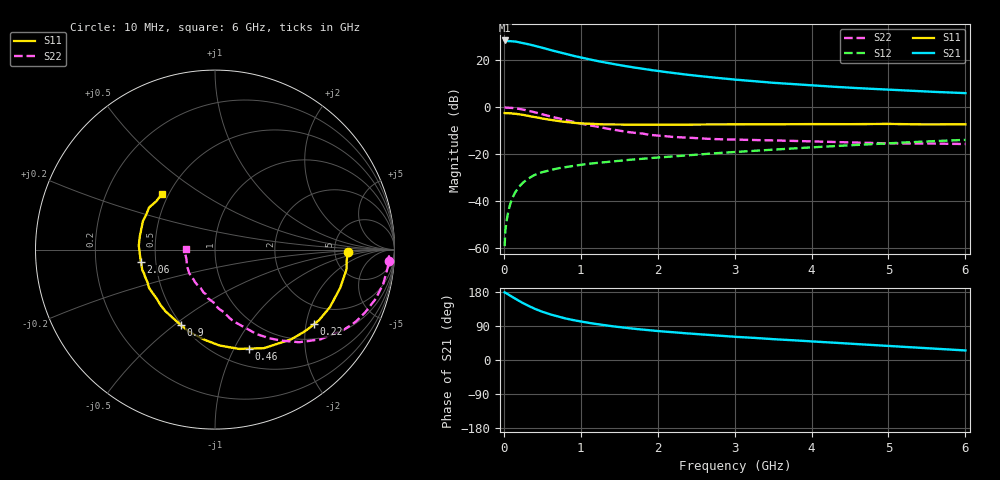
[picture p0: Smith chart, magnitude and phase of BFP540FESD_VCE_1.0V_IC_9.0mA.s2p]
! Infineon Technologies  Discrete & RF Semiconductors
! BFP540FESD
! VCE =  1.0 V,  IC =  9.0 mA
! Common Emitter S-Parameters:  Nov 2015
# GHz  S  MA  R  50
!  f  S11  S21  S12  S22
! GHz  MAG  ANG  MAG  ANG  MAG  ANG  MAG  ANG
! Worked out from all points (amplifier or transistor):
!   210 points, 10 MHz to 6 GHz, reference 50 ohm
!   highest |S21| = 28.2 dB at 10 MHz (marker M1)
!   |S21| within 3 dB of that: start of sweep to 489.7 MHz
!   unconditionally stable (mu >= 1): 2.226 GHz to end of sweep
!   at 185 MHz: K = 0.15, MSG = 31.0 dB, |S12| = -34.5 dB
!   at 1.52 GHz: K = 0.82, MSG = 20.3 dB, |S12| = -22.9 dB
!   at 6 GHz: K = 1.22, MAG = 7.1 dB, |S12| = -14.0 dB
!   S11 on the Smith chart (normalised r, x): 10 MHz: 6.71, -0.39; 220 MHz: 1.39, -2.22; 460 MHz: 0.69, -1.15; 900 MHz: 0.49, -0.53; 2.06 GHz: 0.41, -0.07; 6 GHz: 0.46, +0.35
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0.01  0.7415 -1.0  25.85 178.5  0.0011 90.5  0.9714 -3.8
0.02  0.7358 -4.9  25.25 177.6  0.0024 85.2  0.97 -2.2
0.05  0.7411 -8.5  25.22 174.0  0.0051 87.6  0.9681 -5.7
0.15  0.7161 -26.6  24.53 161.5  0.0155 78.3  0.9366 -17.0
0.22  0.6904 -37.1  23.33 153.3  0.022 72.8  0.8959 -24.4
0.3  0.6557 -49.7  21.97 144.6  0.0286 68.1  0.8433 -32.1
0.4  0.6132 -63.6  19.99 135.3  0.0359 63.1  0.7716 -40.4
0.46  0.5835 -71.0  18.82 130.7  0.039 60.3  0.7258 -44.6
0.5  0.5696 -76.3  18.12 127.3  0.0411 58.7  0.6976 -47.7
0.6  0.5348 -87.3  16.28 120.5  0.0453 55.9  0.632 -53.5
0.8  0.4811 -106.8  13.41 109.7  0.0528 51.4  0.5246 -63.8
0.9  0.4611 -114.6  12.24 105.4  0.0557 50.6  0.4801 -67.6
1.02  0.4456 -122.8  11.06 100.9  0.0595 49.4  0.4368 -72.2
1.2  0.4327 -134.8  9.558 94.9  0.0644 48.3  0.3827 -78.7
1.42  0.4238 -146.2  8.199 88.9  0.0697 47.8  0.3296 -86.4
2.02  0.4181 -169.3  5.756 76.1  0.0843 46.5  0.246 -105.3
2.06  0.4181 -170.2  5.646 75.5  0.0854 46.4  0.2424 -106.2
2.6  0.4252 177.5  4.421 67.0  0.0993 45.6  0.2122 -121.8
3.1  0.4253 168.7  3.701 60.2  0.1126 44.3  0.2011 -130.4
4.1  0.431 157.3  2.803 47.9  0.1413 40.9  0.1835 -146.5
5.1  0.4329 146.1  2.285 35.8  0.1721 34.8  0.1675 -162.8
6  0.4282 134.0  1.965 25.2  0.1998 28.5  0.163 178.4
